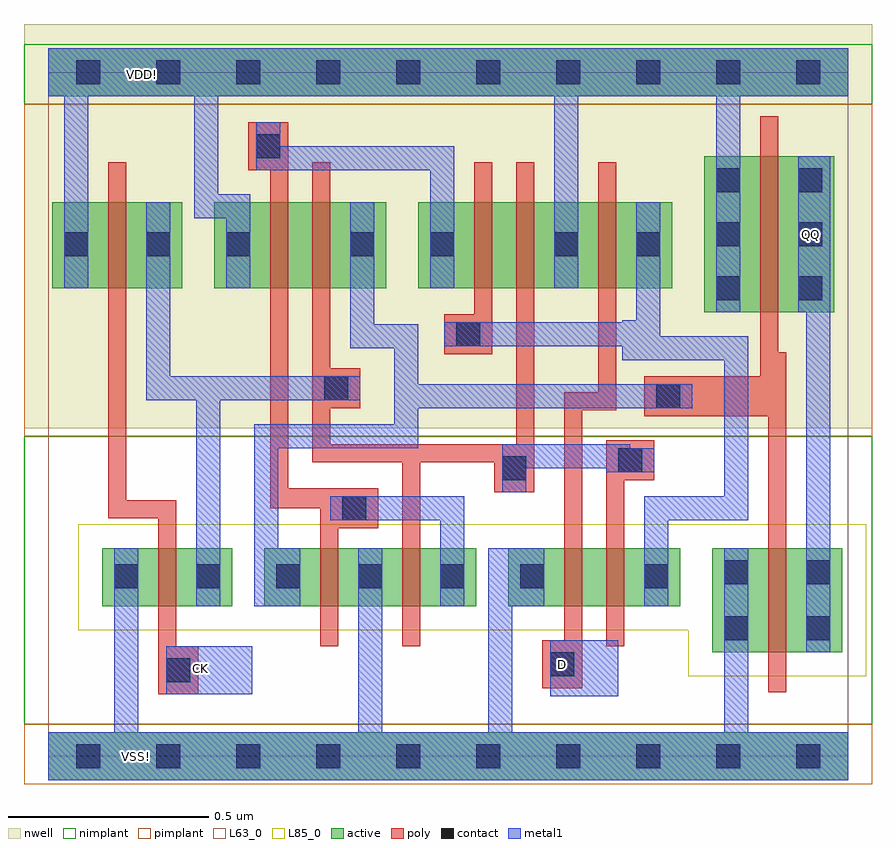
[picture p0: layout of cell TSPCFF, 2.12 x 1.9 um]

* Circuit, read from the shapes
.subckt TSPCFF CK D QQ VDD! VSS!
M1 n1 CK VSS! VSS! nfet w=0.145u l=0.045u
M2 VSS! n2 n3 VSS! nfet w=0.145u l=0.045u
M3 n2 n1 VSS! VSS! nfet w=0.145u l=0.045u
M4 n4 D VSS! VSS! nfet w=0.145u l=0.045u
M5 n5 n1 n4 VSS! nfet w=0.145u l=0.045u
M6 QQ n3 VSS! VSS! nfet w=0.26u l=0.045u
M7 n1 CK VDD! VDD! pfet w=0.215u l=0.045u
M8 n6 n2 VDD! VDD! pfet w=0.215u l=0.045u
M9 n3 n1 n6 VDD! pfet w=0.215u l=0.045u
M10 n7 n5 n2 VDD! pfet w=0.215u l=0.045u
M11 VDD! n1 n7 VDD! pfet w=0.215u l=0.045u
M12 n5 D VDD! VDD! pfet w=0.215u l=0.045u
M13 QQ n3 VDD! VDD! pfet w=0.39u l=0.045u
.ends

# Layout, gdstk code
from math import pi, radians
import gdstk
lib = gdstk.Library(unit=1e-6, precision=5e-10)
def R(c, l, rs):  # rectangles x0, y0, x1, y1
    for r in rs: c.add(gdstk.rectangle(r[:2], r[2:], *l))
def A(c, l, x, y, w, h, nx, ny, dx, dy):  # array of equal rectangles
    R(c, l, [(x+i*dx, y+j*dy, x+i*dx+w, y+j*dy+h) for i in range(nx) for j in range(ny)])
def P(c, l, *ps):  # polygons
    for p in ps: c.add(gdstk.Polygon(p, *l))
active = (1, 0)
nwell = (2, 0)
poly = (3, 0)
nimplant = (4, 0)
pimplant = (5, 0)
contact = (6, 0)
metal1 = (7, 0)
L63_0 = (63, 0)
L85_0 = (85, 0)

nmos1v_cdns_763054860570 = lib.new_cell('nmos1v_CDNS_763054860570')
R(nmos1v_cdns_763054860570, active, [(-0.14,0,0,0.145), (0,0,0.045,0.145), (0.045,0,0.185,0.145)])
R(nmos1v_cdns_763054860570, poly, [(0,-0.1,0.045,-0.05), (0,-0.05,0.045,0), (0,0,0.045,0.145), (0,0.145,0.045,0.195), (0,0.195,0.045,0.245)])
R(nmos1v_cdns_763054860570, nimplant, [(-0.1,-0.1,0.145,0.245), (-0.21,-0.07,0.255,0.215)])
R(nmos1v_cdns_763054860570, contact, [(-0.11,0.045,-0.05,0.105), (0.095,0.045,0.155,0.105)])
R(nmos1v_cdns_763054860570, metal1, [(-0.11,0,-0.05,0.145), (0.095,0,0.155,0.145)])
R(nmos1v_cdns_763054860570, L85_0, [(-0.2,-0.06,0.245,0.205)])

pmos1v_cdns_763054860571 = lib.new_cell('pmos1v_CDNS_763054860571')
R(pmos1v_cdns_763054860571, active, [(-0.14,0,0,0.215), (0,0,0.045,0.215), (0.045,0,0.185,0.215)])
R(pmos1v_cdns_763054860571, nwell, [(-0.2,-0.06,0.245,0.275)])
R(pmos1v_cdns_763054860571, poly, [(0,-0.1,0.045,-0.05), (0,-0.05,0.045,0), (0,0,0.045,0.215), (0,0.215,0.045,0.265), (0,0.265,0.045,0.315)])
R(pmos1v_cdns_763054860571, pimplant, [(-0.1,-0.1,0.145,0.315), (-0.21,-0.07,0.255,0.285)])
R(pmos1v_cdns_763054860571, contact, [(-0.11,0.08,-0.05,0.14), (0.095,0.08,0.155,0.14)])
R(pmos1v_cdns_763054860571, metal1, [(-0.11,0,-0.05,0.215), (0.095,0,0.155,0.215)])

pmos1v_cdns_763054860572 = lib.new_cell('pmos1v_CDNS_763054860572')
R(pmos1v_cdns_763054860572, active, [(-0.14,0,0,0.39), (0,0,0.045,0.39), (0.045,0,0.185,0.39)])
R(pmos1v_cdns_763054860572, nwell, [(-0.2,-0.06,0.245,0.45)])
R(pmos1v_cdns_763054860572, poly, [(0,-0.1,0.045,-0.05), (0,-0.05,0.045,0), (0,0,0.045,0.39), (0,0.39,0.045,0.44), (0,0.44,0.045,0.49)])
R(pmos1v_cdns_763054860572, pimplant, [(-0.1,-0.1,0.145,0.49), (-0.21,-0.07,0.255,0.46)])
A(pmos1v_cdns_763054860572, contact, -0.11, 0.03, 0.06, 0.06, 1, 3, 0, 0.135)
A(pmos1v_cdns_763054860572, contact, 0.095, 0.03, 0.06, 0.06, 1, 3, 0, 0.135)
R(pmos1v_cdns_763054860572, metal1, [(-0.11,0,-0.05,0.39), (0.095,0,0.155,0.39)])

nmos1v_cdns_763054860573 = lib.new_cell('nmos1v_CDNS_763054860573')
R(nmos1v_cdns_763054860573, active, [(-0.14,0,0,0.26), (0,0,0.045,0.26), (0.045,0,0.185,0.26)])
R(nmos1v_cdns_763054860573, poly, [(0,-0.1,0.045,-0.05), (0,-0.05,0.045,0), (0,0,0.045,0.26), (0,0.26,0.045,0.31), (0,0.31,0.045,0.36)])
R(nmos1v_cdns_763054860573, nimplant, [(-0.1,-0.1,0.145,0.36), (-0.21,-0.07,0.255,0.33)])
R(nmos1v_cdns_763054860573, contact, [(-0.11,0.03,-0.05,0.09), (0.095,0.03,0.155,0.09), (-0.11,0.17,-0.05,0.23), (0.095,0.17,0.155,0.23)])
R(nmos1v_cdns_763054860573, metal1, [(-0.11,0,-0.05,0.26), (0.095,0,0.155,0.26)])
R(nmos1v_cdns_763054860573, L85_0, [(-0.2,-0.06,0.245,0.32)])

pmos1v_cdns_763054860574 = lib.new_cell('pmos1v_CDNS_763054860574')
R(pmos1v_cdns_763054860574, active, [(-0.11,0,0,0.215), (0,0,0.045,0.215), (0.045,0,0.075,0.215)])
R(pmos1v_cdns_763054860574, nwell, [(-0.17,-0.06,0.135,0.275)])
R(pmos1v_cdns_763054860574, poly, [(0,-0.1,0.045,-0.05), (0,-0.05,0.045,0), (0,0,0.045,0.215), (0,0.215,0.045,0.265), (0,0.265,0.045,0.315)])
R(pmos1v_cdns_763054860574, pimplant, [(-0.1,-0.1,0.145,0.315), (-0.18,-0.07,0.145,0.285)])
R(pmos1v_cdns_763054860574, contact, [(-0.11,0.08,-0.05,0.14)])
R(pmos1v_cdns_763054860574, metal1, [(-0.11,0,-0.05,0.215)])

celltmpl_cdns_7630548605 = lib.new_cell('cellTmpl_CDNS_763054860575')
R(celltmpl_cdns_7630548605, active, [(0,-0.06,2,0.06), (0,1.65,2,1.77)])
R(celltmpl_cdns_7630548605, nwell, [(-0.06,0.82,2.06,1.83)])
R(celltmpl_cdns_7630548605, nimplant, [(-0.06,0.08,2.06,0.8), (-0.06,1.63,2.06,1.78)])
R(celltmpl_cdns_7630548605, pimplant, [(-0.06,-0.07,2.06,0.08), (-0.06,0.8,2.06,1.63)])
A(celltmpl_cdns_7630548605, contact, 0.07, -0.03, 0.06, 0.06, 10, 2, 0.2, 1.71)
R(celltmpl_cdns_7630548605, metal1, [(0,-0.06,2,0.06), (0,1.65,2,1.77)])
R(celltmpl_cdns_7630548605, L63_0, [(0,0,2,1.71)])

pmos1v_cdns_763054860576 = lib.new_cell('pmos1v_CDNS_763054860576')
R(pmos1v_cdns_763054860576, active, [(-0.03,0,0,0.215), (0,0,0.045,0.215), (0.045,0,0.185,0.215)])
R(pmos1v_cdns_763054860576, nwell, [(-0.09,-0.06,0.245,0.275)])
R(pmos1v_cdns_763054860576, poly, [(0,-0.1,0.045,-0.05), (0,-0.05,0.045,0), (0,0,0.045,0.215), (0,0.215,0.045,0.265), (0,0.265,0.045,0.315)])
R(pmos1v_cdns_763054860576, pimplant, [(-0.1,-0.1,0.145,0.315), (-0.1,-0.07,0.255,0.285)])
R(pmos1v_cdns_763054860576, contact, [(0.095,0.08,0.155,0.14)])
R(pmos1v_cdns_763054860576, metal1, [(0.095,0,0.155,0.215)])

pmos1v_cdns_763054860577 = lib.new_cell('pmos1v_CDNS_763054860577')
R(pmos1v_cdns_763054860577, active, [(-0.14,0,0,0.215), (0,0,0.045,0.215), (0.045,0,0.075,0.215)])
R(pmos1v_cdns_763054860577, nwell, [(-0.2,-0.06,0.135,0.275)])
R(pmos1v_cdns_763054860577, poly, [(0,-0.1,0.045,-0.05), (0,-0.05,0.045,0), (0,0,0.045,0.215), (0,0.215,0.045,0.265), (0,0.265,0.045,0.315)])
R(pmos1v_cdns_763054860577, pimplant, [(-0.1,-0.1,0.145,0.315), (-0.21,-0.07,0.145,0.285)])
R(pmos1v_cdns_763054860577, contact, [(-0.11,0.08,-0.05,0.14)])
R(pmos1v_cdns_763054860577, metal1, [(-0.11,0,-0.05,0.215)])

pmos1v_cdns_763054860578 = lib.new_cell('pmos1v_CDNS_763054860578')
R(pmos1v_cdns_763054860578, active, [(-0.05,0,0,0.215), (0,0,0.045,0.215), (0.045,0,0.185,0.215)])
R(pmos1v_cdns_763054860578, nwell, [(-0.11,-0.06,0.245,0.275)])
R(pmos1v_cdns_763054860578, poly, [(0,-0.1,0.045,-0.05), (0,-0.05,0.045,0), (0,0,0.045,0.215), (0,0.215,0.045,0.265), (0,0.265,0.045,0.315)])
R(pmos1v_cdns_763054860578, pimplant, [(-0.1,-0.1,0.145,0.315), (-0.12,-0.07,0.255,0.285)])
R(pmos1v_cdns_763054860578, contact, [(0.095,0.08,0.155,0.14)])
R(pmos1v_cdns_763054860578, metal1, [(0.095,0,0.155,0.215)])

nmos1v_cdns_763054860579 = lib.new_cell('nmos1v_CDNS_763054860579')
R(nmos1v_cdns_763054860579, active, [(-0.05,0,0,0.145), (0,0,0.045,0.145), (0.045,0,0.185,0.145)])
R(nmos1v_cdns_763054860579, poly, [(0,-0.1,0.045,-0.05), (0,-0.05,0.045,0), (0,0,0.045,0.145), (0,0.145,0.045,0.195), (0,0.195,0.045,0.245)])
R(nmos1v_cdns_763054860579, nimplant, [(-0.1,-0.1,0.145,0.245), (-0.12,-0.07,0.255,0.215)])
R(nmos1v_cdns_763054860579, contact, [(0.095,0.045,0.155,0.105)])
R(nmos1v_cdns_763054860579, metal1, [(0.095,0,0.155,0.145)])
R(nmos1v_cdns_763054860579, L85_0, [(-0.11,-0.06,0.245,0.205)])

nmos1v_cdns_763054860571 = lib.new_cell('nmos1v_CDNS_7630548605710')
R(nmos1v_cdns_763054860571, active, [(-0.11,0,0,0.145), (0,0,0.045,0.145), (0.045,0,0.185,0.145)])
R(nmos1v_cdns_763054860571, poly, [(0,-0.1,0.045,-0.05), (0,-0.05,0.045,0), (0,0,0.045,0.145), (0,0.145,0.045,0.195), (0,0.195,0.045,0.245)])
R(nmos1v_cdns_763054860571, nimplant, [(-0.1,-0.1,0.145,0.245), (-0.18,-0.07,0.255,0.215)])
R(nmos1v_cdns_763054860571, contact, [(-0.11,0.045,-0.05,0.105), (0.095,0.045,0.155,0.105)])
R(nmos1v_cdns_763054860571, metal1, [(-0.11,0,-0.05,0.145), (0.095,0,0.155,0.145)])
R(nmos1v_cdns_763054860571, L85_0, [(-0.17,-0.06,0.245,0.205)])

c_nmos1v_cdns_763054860571 = lib.new_cell('nmos1v_CDNS_7630548605711')
R(c_nmos1v_cdns_763054860571, active, [(-0.03,0,0,0.145), (0,0,0.045,0.145), (0.045,0,0.185,0.145)])
R(c_nmos1v_cdns_763054860571, poly, [(0,-0.1,0.045,-0.05), (0,-0.05,0.045,0), (0,0,0.045,0.145), (0,0.145,0.045,0.195), (0,0.195,0.045,0.245)])
R(c_nmos1v_cdns_763054860571, nimplant, [(-0.1,-0.1,0.145,0.245), (-0.1,-0.07,0.255,0.215)])
R(c_nmos1v_cdns_763054860571, contact, [(0.095,0.045,0.155,0.105)])
R(c_nmos1v_cdns_763054860571, metal1, [(0.095,0,0.155,0.145)])
R(c_nmos1v_cdns_763054860571, L85_0, [(-0.09,-0.06,0.245,0.205)])

c_nmos1v_cdns_763054860571_ = lib.new_cell('nmos1v_CDNS_7630548605712')
R(c_nmos1v_cdns_763054860571_, active, [(-0.14,0,0,0.145), (0,0,0.045,0.145), (0.045,0,0.075,0.145)])
R(c_nmos1v_cdns_763054860571_, poly, [(0,-0.1,0.045,-0.05), (0,-0.05,0.045,0), (0,0,0.045,0.145), (0,0.145,0.045,0.195), (0,0.195,0.045,0.245)])
R(c_nmos1v_cdns_763054860571_, nimplant, [(-0.1,-0.1,0.145,0.245), (-0.21,-0.07,0.145,0.215)])
R(c_nmos1v_cdns_763054860571_, contact, [(-0.11,0.045,-0.05,0.105)])
R(c_nmos1v_cdns_763054860571_, metal1, [(-0.11,0,-0.05,0.145)])
R(c_nmos1v_cdns_763054860571_, L85_0, [(-0.2,-0.06,0.135,0.205)])

m1_po_cdns_763054860570 = lib.new_cell('M1_PO_CDNS_763054860570')
R(m1_po_cdns_763054860570, poly, [(-0.05,-0.06,0.05,0.06)])
R(m1_po_cdns_763054860570, contact, [(-0.03,-0.03,0.03,0.03)])
R(m1_po_cdns_763054860570, metal1, [(-0.03,-0.06,0.03,0.06)])

tspcff = lib.new_cell('TSPCFF')
P(tspcff, poly, [(1.845,1.01),(1.78,1.01),(1.78,0.95),(1.61,0.95),(1.61,0.85),(1.8,0.85),(1.8,0.62),(1.845,0.62)],
  [(1.335,0.62),(1.335,0.865),(1.42,0.865),(1.42,1.07),(1.375,1.07),(1.375,0.91),(1.29,0.91),(1.29,0.62)],
  [(0.32,0.64),(0.195,0.64),(0.195,1.085),(0.15,1.085),(0.15,0.595),(0.32,0.595)],
  [(0.725,0.665),(0.71,0.665),(0.71,0.67),(0.6,0.67),(0.6,1.07),(0.555,1.07),(0.555,0.62),(0.725,0.62)],
  [(1.455,0.77),(1.395,0.77),(1.395,0.62),(1.44,0.62),(1.44,0.725),(1.455,0.725)],
  [(1.215,1.07),(1.17,1.07),(1.17,0.78),(0.705,0.78),(0.705,1.075),(0.66,1.075),(0.66,0.735),(0.885,0.735),(0.885,0.61),(0.93,0.61),(0.93,0.735),(1.215,0.735)])
R(tspcff, metal1, [(0.19,-0.03,0.25,0.03), (0.775,-0.02,0.835,0.41), (1.69,0.015,1.75,0.26), (0.165,0.03,0.225,0.375), (1.255,0.15,1.425,0.29), (0.295,0.155,0.51,0.275), (0.35,0.19,0.41,0.25), (1.255,0.2,1.315,0.26), (1.895,0.505,1.955,1.5), (1.135,0.72,1.455,0.78), (1.875,1.275,1.935,1.335), (0.04,1.37,0.1,1.725), (1.265,1.37,1.325,1.7), (1.67,1.48,1.73,1.69), (0.205,1.675,0.265,1.735)])
P(tspcff, metal1, [(0.72,0.95),(0.305,0.95),(0.305,1.23),(0.245,1.23),(0.245,0.89),(0.37,0.89),(0.37,0.52),(0.43,0.52),(0.43,0.89),(0.72,0.89)],
  [(0.505,1.405),(0.425,1.405),(0.425,1.685),(0.365,1.685),(0.365,1.345),(0.505,1.345)],
  [(1.75,1.05),(1.53,1.05),(1.53,1.17),(1.47,1.17),(1.47,1.09),(1.435,1.09),(1.435,1.085),(1.05,1.085),(1.05,1.025),(1.435,1.025),(1.435,0.99),(1.69,0.99),(1.69,0.65),(1.49,0.65),(1.49,0.52),(1.55,0.52),(1.55,0.59),(1.75,0.59)],
  [(0.74,0.59),(0.98,0.59),(0.98,0.515),(1.04,0.515),(1.04,0.65),(0.74,0.65)],
  [(1.18,0.52),(1.1,0.52),(1.1,0.025),(1.16,0.025),(1.16,0.375),(1.18,0.375)],
  [(1.55,0.93),(0.925,0.93),(0.925,1.08),(0.815,1.08),(0.815,1.18),(0.755,1.18),(0.755,1.02),(0.865,1.02),(0.865,0.83),(0.515,0.83),(0.515,0.375),(0.57,0.375),(0.57,0.52),(0.575,0.52),(0.575,0.77),(0.925,0.77),(0.925,0.87),(1.55,0.87)],
  [(1.015,1.385),(1.015,1.525),(0.54,1.525),(0.54,1.465),(0.955,1.465),(0.955,1.385)])
tspcff.add(gdstk.Reference(nmos1v_cdns_763054860570, (0.275,0.375)))
tspcff.add(gdstk.Reference(pmos1v_cdns_763054860571, (0.15,1.17)))
tspcff.add(gdstk.Reference(pmos1v_cdns_763054860572, (1.78,1.11)))
tspcff.add(gdstk.Reference(nmos1v_cdns_763054860573, (1.8,0.26)))
tspcff.add(gdstk.Reference(pmos1v_cdns_763054860574, (1.215,1.17), rotation=pi, x_reflection=True))
tspcff.add(gdstk.Reference(celltmpl_cdns_7630548605, (0,0)))
tspcff.add(gdstk.Reference(pmos1v_cdns_763054860576, (0.66,1.17)))
tspcff.add(gdstk.Reference(pmos1v_cdns_763054860576, (1.11,1.17), rotation=pi, x_reflection=True))
tspcff.add(gdstk.Reference(pmos1v_cdns_763054860577, (0.555,1.17)))
tspcff.add(gdstk.Reference(pmos1v_cdns_763054860578, (1.375,1.17)))
tspcff.add(gdstk.Reference(nmos1v_cdns_763054860579, (0.725,0.375), rotation=pi, x_reflection=True))
tspcff.add(gdstk.Reference(nmos1v_cdns_763054860571, (0.885,0.375)))
tspcff.add(gdstk.Reference(c_nmos1v_cdns_763054860571, (1.395,0.375)))
tspcff.add(gdstk.Reference(c_nmos1v_cdns_763054860571_, (1.29,0.375)))
tspcff.add(gdstk.Reference(m1_po_cdns_763054860570, (0.765,0.62), rotation=pi/2))
tspcff.add(gdstk.Reference(m1_po_cdns_763054860570, (0.325,0.215)))
tspcff.add(gdstk.Reference(m1_po_cdns_763054860570, (1.285,0.23)))
tspcff.add(gdstk.Reference(m1_po_cdns_763054860570, (1.55,0.9), rotation=pi/2))
tspcff.add(gdstk.Reference(m1_po_cdns_763054860570, (1.05,1.055), rotation=pi/2))
tspcff.add(gdstk.Reference(m1_po_cdns_763054860570, (1.165,0.72)))
tspcff.add(gdstk.Reference(m1_po_cdns_763054860570, (1.455,0.74), rotation=pi/2))
tspcff.add(gdstk.Reference(m1_po_cdns_763054860570, (0.72,0.92), rotation=pi/2))
tspcff.add(gdstk.Reference(m1_po_cdns_763054860570, (0.55,1.525), rotation=pi))
tspcff.add(gdstk.Label('CK', (0.38,0.22), layer=63, texttype=0))
tspcff.add(gdstk.Label('D', (1.285,0.23), layer=63, texttype=0))
tspcff.add(gdstk.Label('QQ', (1.905,1.305), layer=63, texttype=0))
tspcff.add(gdstk.Label('VDD!', (0.235,1.705), layer=63, texttype=0))
tspcff.add(gdstk.Label('VSS!', (0.22,0), layer=63, texttype=0))

lib.write_gds('TSPCFF.gds')
